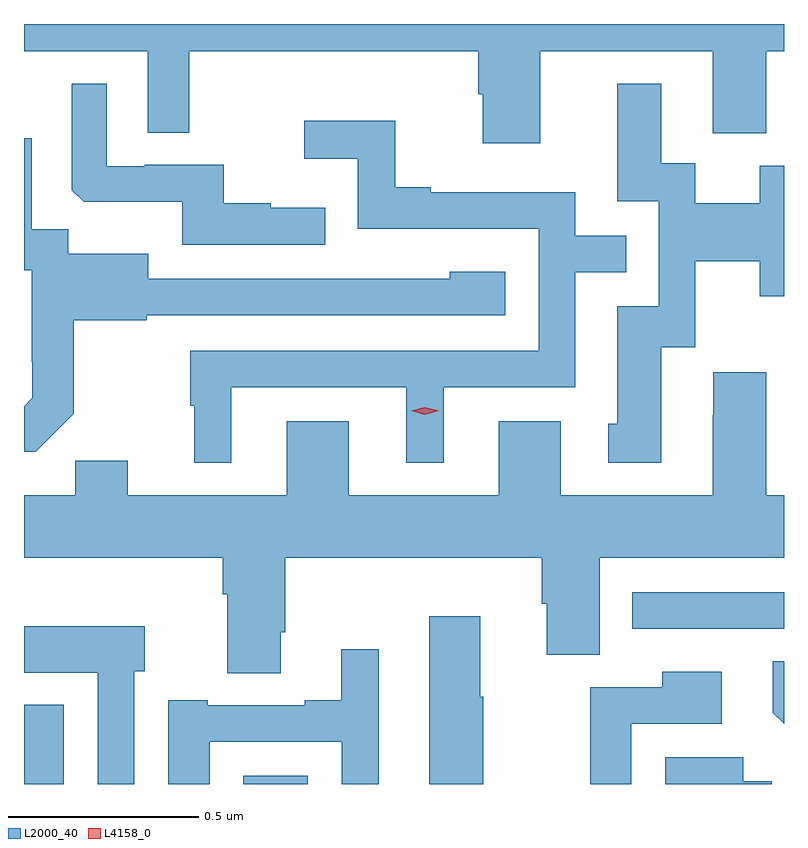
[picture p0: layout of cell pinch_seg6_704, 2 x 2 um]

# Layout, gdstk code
import gdstk
lib = gdstk.Library(unit=1e-6, precision=1e-09)
def R(c, l, rs):  # rectangles x0, y0, x1, y1
    for r in rs: c.add(gdstk.rectangle(r[:2], r[2:], *l))
def P(c, l, *ps):  # polygons
    for p in ps: c.add(gdstk.Polygon(p, *l))
L2000_40 = (2000, 40)
L4158_0 = (4158, 0)

pinch_seg6_704 = lib.new_cell('pinch_seg6_704')
R(pinch_seg6_704, L2000_40, [(489.082,937.416,489.187,937.624), (489.659,937.416,489.829,937.438), (490.682,937.824,491.082,937.92)])
P(pinch_seg6_704, L2000_40, [(490.441,939.344),(490.895,939.344),(490.895,939.128),(491.035,939.128),(491.035,939.344),(491.082,939.344),(491.082,939.416),(489.082,939.416),(489.082,939.344),(489.408,939.344),(489.408,939.13),(489.517,939.13),(489.517,939.344),(490.277,939.344),(490.277,939.231),(490.289,939.231),(490.289,939.102),(490.441,939.102)],
  [(490.759,938.565),(490.848,938.565),(490.848,938.792),(491.018,938.792),(491.018,938.699),(491.082,938.699),(491.082,939.043),(491.018,939.043),(491.018,938.944),(490.849,938.944),(490.849,939.05),(490.759,939.05),(490.759,939.259),(490.643,939.259),(490.643,938.949),(490.752,938.949),(490.752,938.673),(490.643,938.673),(490.643,938.364),(490.619,938.364),(490.619,938.262),(490.759,938.262)],
  [(489.875,938.932),(489.731,938.932),(489.731,938.944),(489.608,938.944),(489.608,939.045),(489.4,939.045),(489.4,939.042),(489.3,939.042),(489.3,939.259),(489.207,939.259),(489.207,938.979),(489.239,938.948),(489.498,938.948),(489.498,938.835),(489.875,938.835)],
  [(489.628,938.46),(490.088,938.46),(490.088,938.261),(490.186,938.261),(490.186,938.46),(490.533,938.46),(490.533,938.763),(490.667,938.763),(490.667,938.859),(490.533,938.859),(490.533,938.973),(490.153,938.973),(490.153,938.986),(490.059,938.986),(490.059,939.161),(489.819,939.161),(489.819,939.062),(489.96,939.062),(489.96,938.877),(490.437,938.877),(490.437,938.556),(489.519,938.556),(489.519,938.412),(489.53,938.412),(489.53,938.261),(489.628,938.261)],
  [(489.213,938.391),(489.213,938.637),(489.405,938.637),(489.405,938.649),(490.348,938.649),(490.348,938.764),(490.203,938.764),(490.203,938.746),(489.967,938.746),(489.967,938.745),(489.409,938.745),(489.409,938.812),(489.198,938.812),(489.198,938.876),(489.103,938.876),(489.103,939.115),(489.082,939.115),(489.082,938.768),(489.102,938.768),(489.102,938.527),(489.104,938.527),(489.104,938.432),(489.082,938.41),(489.082,938.291),(489.113,938.291)],
  [(489.757,937.816),(489.77,937.816),(489.77,938.012),(490.445,938.012),(490.445,937.89),(490.457,937.89),(490.457,937.756),(490.597,937.756),(490.597,938.012),(491.082,938.012),(491.082,938.176),(491.035,938.176),(491.035,938.5),(490.896,938.5),(490.896,938.387),(490.895,938.387),(490.895,938.176),(490.495,938.176),(490.495,938.371),(490.331,938.371),(490.331,938.176),(489.937,938.176),(489.937,938.371),(489.773,938.371),(489.773,938.176),(489.355,938.176),(489.355,938.267),(489.217,938.267),(489.217,938.176),(489.082,938.176),(489.082,938.012),(489.605,938.012),(489.605,937.916),(489.617,937.916),(489.617,937.708),(489.757,937.708)],
  [(490.29,937.645),(490.282,937.645),(490.282,937.858),(490.148,937.858),(490.148,937.416),(490.29,937.416)],
  [(489.372,937.713),(489.4,937.713),(489.4,937.831),(489.082,937.831),(489.082,937.709),(489.276,937.709),(489.276,937.416),(489.372,937.416)],
  [(489.571,937.527),(489.918,937.527),(489.918,937.416),(490.015,937.416),(490.015,937.771),(489.917,937.771),(489.917,937.636),(489.821,937.636),(489.821,937.623),(489.565,937.623),(489.565,937.636),(489.461,937.636),(489.461,937.416),(489.571,937.416)],
  [(491.082,937.739),(491.053,937.739),(491.053,937.603),(491.082,937.574)],
  [(490.68,937.575),(490.918,937.575),(490.918,937.711),(490.762,937.711),(490.762,937.671),(490.572,937.671),(490.572,937.416),(490.68,937.416)],
  [(491.05,937.423),(490.975,937.423),(490.975,937.486),(490.769,937.486),(490.769,937.416),(491.05,937.416)])
P(pinch_seg6_704, L4158_0, [(490.137,938.388),(490.101,938.398),(490.101,938.398),(490.101,938.398),(490.137,938.408),(490.173,938.398),(490.173,938.398),(490.173,938.398)])

lib.write_gds('pinch_seg6_704.gds')
